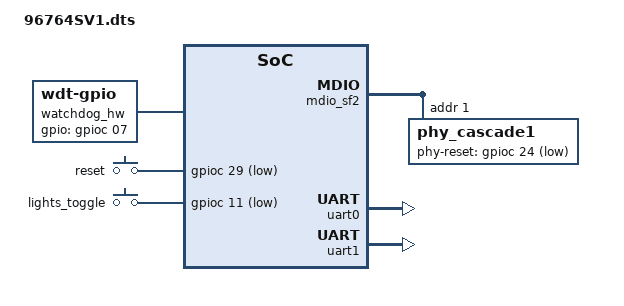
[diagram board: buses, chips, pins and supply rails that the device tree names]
#include "6764.dtsi"
#include <dt-bindings/input/linux-event-codes.h>

/ {

	memory_controller {
		memcfg = <(BP_DDR_TYPE_DDR3       | \
			BP_DDR_SPEED_933_13_13_13    | \
			BP_DDR_TOTAL_SIZE_512MB      | \
			BP_DDR_DEVICE_WIDTH_16         | \
			BP_DDR_TOTAL_WIDTH_16BIT      | \
			BP_DDR_6764_DEFAULT)>;    /* memcfg=0x0000142f */
	};

	config {
			system_led = "oem:green:red";
			reset_led = "oem:green:blue";
	};

	watchdog_hw {
		compatible = "linux,wdt-gpio";
		gpios = <&gpioc 07 GPIO_ACTIVE_HIGH>;
		hw_algo = "toggle";
		hw_margin_ms = <30000>;
		status = "ok";
		always-running;
	};

    gpio-keys-polled {
        compatible = "gpio-keys-polled";
        //#address-cells = <1>;
        //#size-cells = <0>;
        poll-interval = <20>;

        reset {
            label = "reset";
            gpios = <&gpioc 29 GPIO_ACTIVE_LOW>;
			linux,code = <KEY_RESTART>;
        };
		lights_toggle {
			label = "lights_toggle";
			gpios = <&gpioc 11 GPIO_ACTIVE_LOW>;
			linux,code = <KEY_LIGHTS_TOGGLE>;
		};
    };
};

&mdio_sf2 {
	/* Port PHY mapping:
        port_imp -8#0- port_gphy <----> phy_gphy
                  # 6- port_sgmii1 <--> phy_serdes1 - phy_cascade1
                  ##5- port_sgmii0 <--> phy_serdes0 <--> port_ext_imp -8#0- port_ext_gphy0 <--> phy_ext_gphy0
                                                                       # 1- port_ext_gphy1 <--> phy_ext_gphy1
                                                                       # 2- port_ext_gphy2 <--> phy_ext_gphy2
                                                                       ##3- port_ext_gphy3 <--> phy_ext_gphy3
	 */
	phy_gphy {
		status = "okay";
	};

	phy_cascade1 {
		shared-ref-clk-mhz = <80>;
		phy-reset = <&gpioc 24 GPIO_ACTIVE_LOW>; 
		reg = <1>;
		status = "okay";
		phy-type = "RTL8221B";
	};
	phy_serdes1 {
		phy-handle = <&phy_cascade1>;	
		status = "okay";
	};
};

&switch0 {
	ports {
		port_gphy {
			phy-handle = <&phy_gphy>;
			status = "okay";
			mtd-mac-address = <&bdinfo 0xDE00>;
		};
		port_sgmii1 {
			phy-handle = <&phy_serdes1>;
			status = "okay";
			mtd-mac-address = <&bdinfo 0xDE00>;
			mtd-mac-address-increment = <1>;
		};
	};
};


&vreg_sync {
	pinctrl-0 = <&b_vreg_sync_pin_33 &a_vreg_sync_pin_44>;
	pinctrl-names = "default";
	status="okay";
};

&led_ctrl {
	led4: sw_parallel_led_4 {
		active_low;
		pinctrl-0 = <&a_per_led_28_pin_28>;
		brightness = <255>;
		flash_rate = <0>;
		status="okay";
		label="oem:green:blue";
	};
	led5: sw_parallel_led_5 {
		active_low;
		pinctrl-0 = <&a_per_led_10_pin_10>;
		brightness = <255>;
		flash_rate = <0>;
		status="okay";
		label="oem:green:red";
	};
};

&legacy_leds {
	//wl-sess-led = <&led7>;
	//wl0-led = <&led6>;
	wl1-led = <&led5>;
};

&uart0 {
	pinctrl-names = "default";
	pinctrl-0 = <&uart0_sdin_pin_64 &uart0_sdout_pin_65>;
	status = "okay";
};

&uart1 {
    pinctrl-names = "default";
    pinctrl-0 = <&a_uart1_sin_pin_32 &a_uart1_sout_pin_2>;
    status = "okay";
};


#if defined(CONFIG_BCM_PCIE_HCD) || defined(CONFIG_BCM_PCIE_HCD_MODULE)

&pcie0 {
	status = "disabled";
};
#endif //#if defined(CONFIG_BCM_PCIE_HCD) || defined(CONFIG_BCM_PCIE_HCD_MODULE)

&plat_rsvmem_uncached_device {

#ifdef DT_RESERVED_DHD_IN_UNCACHED_DEV
	 dt_reserved_dhd0:dt_reserved_dhd0 {
		rsvd-size = <0>;
	};
	 dt_reserved_dhd1:dt_reserved_dhd1 {
		rsvd-size = <0>;
	};
	 dt_reserved_dhd2:dt_reserved_dhd2 {
		rsvd-size = <0>;
	};
#endif

};
